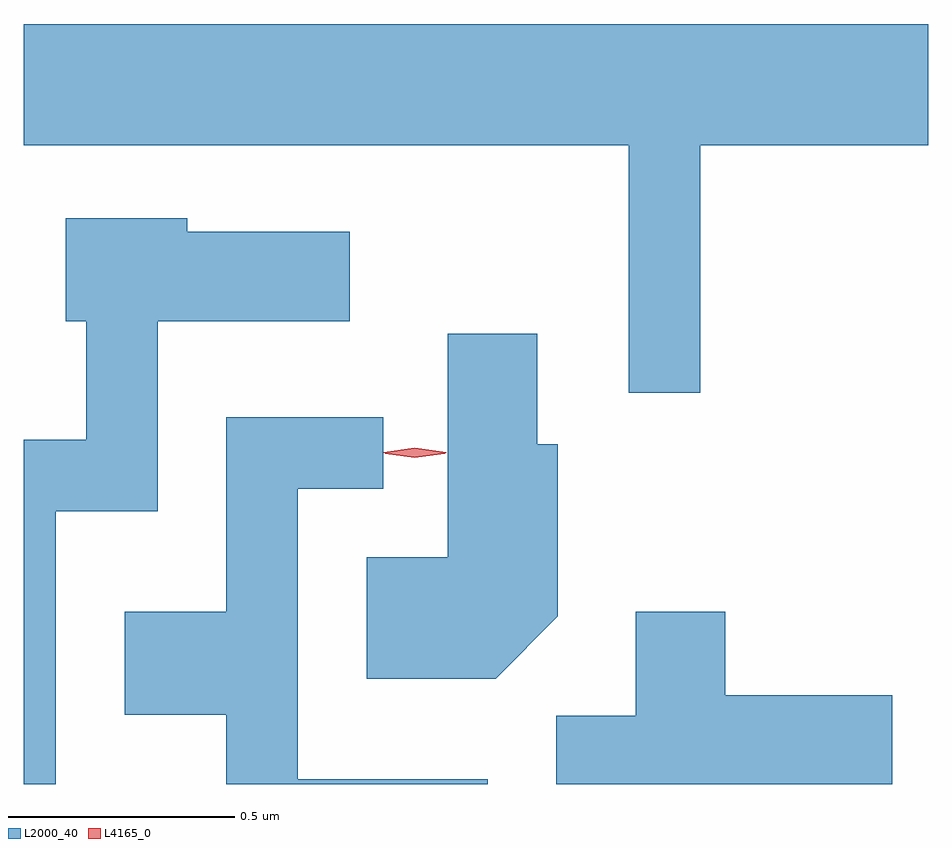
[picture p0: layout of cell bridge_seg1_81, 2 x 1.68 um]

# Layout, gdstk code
import gdstk
lib = gdstk.Library(unit=1e-6, precision=1e-09)
def P(c, l, *ps):  # polygons
    for p in ps: c.add(gdstk.Polygon(p, *l))
L2000_40 = (2000, 40)
L4165_0 = (4165, 0)

bridge_seg1_81 = lib.new_cell('bridge_seg1_81')
P(bridge_seg1_81, L2000_40, [(1266.239,852.956),(1266.743,852.956),(1266.743,853.224),(1264.743,853.224),(1264.743,852.956),(1266.081,852.956),(1266.081,852.408),(1266.239,852.408)],
  [(1264.814,852.146),(1265.039,852.146),(1265.039,852.566),(1265.464,852.566),(1265.464,852.764),(1265.104,852.764),(1265.104,852.794),(1264.836,852.794),(1264.836,852.566),(1264.881,852.566),(1264.881,852.304),(1264.743,852.304),(1264.743,851.543),(1264.814,851.543)],
  [(1265.924,851.914),(1265.924,852.294),(1265.879,852.294),(1265.879,852.539),(1265.681,852.539),(1265.681,852.044),(1265.501,852.044),(1265.501,851.776),(1265.787,851.776)],
  [(1265.769,851.554),(1265.349,851.554),(1265.349,852.196),(1265.538,852.196),(1265.538,852.354),(1265.191,852.354),(1265.191,851.924),(1264.966,851.924),(1264.966,851.696),(1265.191,851.696),(1265.191,851.543),(1265.769,851.543)],
  [(1266.664,851.739),(1266.294,851.739),(1266.294,851.924),(1266.096,851.924),(1266.096,851.694),(1265.921,851.694),(1265.921,851.543),(1266.664,851.543)])
P(bridge_seg1_81, L4165_0, [(1265.608,852.267),(1265.539,852.276),(1265.538,852.277),(1265.539,852.277),(1265.608,852.287),(1265.677,852.277),(1265.677,852.277),(1265.677,852.276)],
  [(1265.608,852.265),(1265.542,852.274),(1265.542,852.275),(1265.542,852.275),(1265.608,852.285),(1265.674,852.275),(1265.675,852.275),(1265.674,852.274)])

lib.write_gds('bridge_seg1_81.gds')
